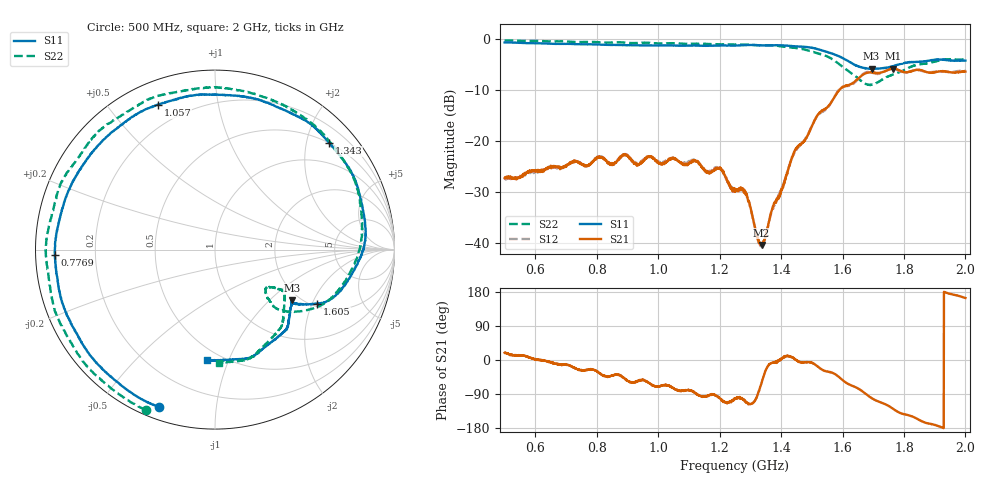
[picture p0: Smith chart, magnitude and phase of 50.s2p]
! Anritsu VNA Master:  Model: MS2036C/2
! SN:  2120025
! /bd0/50.s2p
! Existing Calibration Information:
! TYPE:  Current Settings,  Active Cal Settings
! TIME:  03/24/2026 03:09:40 AM,  03/18/2026 10:00:30 PM
! INTERNAL TEMP:  49.5 C,  42.3 C
! # POINTS:  2000,  2000
! START FREQ:  500.000 MHz,  500.000 MHz
! STOP FREQ:  2.000 GHz,  2.000 GHz
! SOURCE POWER:  High,  High
! IFBW:  10 kHz,  10 kHz
! AVG FACTOR:  1 ,  1
! REF PLANE 1:  0 mm,  0 mm
! REF PLANE 2:  0 mm,  0 mm
! CAL TYPE:  Full 2 Port,  Full 2 Port
! CAL METHOD:  SOLT,  SOLT
! CAL LINE TYPE:  Coax,  Coax
! DUT PORT 1:  N-Conn(M),  N-Conn(M)
! DUT PORT 2:  N-Conn(M),  N-Conn(M)
! CAL STATUS:  ?T: Accuracy moderate (|Temp diff| > 5.0 C),  --
# GHZ S MA R 50.0
! FREQ.GHZ  S11M  S11A  S21M  S21A  S12M  S12A  S22M  S22A
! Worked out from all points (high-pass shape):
!   2000 points, 500 MHz to 2 GHz, reference 50 ohm
!   highest |S21| = -5.76 dB at 1.766 GHz (marker M1); lowest = -40.4 dB at 1.337 GHz (marker M2)
!   |S21| within 3 dB of the highest: 1.627802 GHz to 1.627855 GHz (53.36 kHz wide, 0.00328 % of centre); 1.629 GHz to end of sweep
!   lowest |S11| = -5.8 dB at 1.695 GHz (marker M3), VSWR 3.12, Z = 90.5 - j69.7 ohm
!   |S11| at or under -10 dB: nowhere
!   |S22| runs from -9.0 to -0.2 dB; largest |S21 - S12| = 0.017
!   S11 on the Smith chart (normalised r, x): 500 MHz: 0.05, -0.70; 776.9 MHz: 0.06, -0.02; 1.057 GHz: 0.10, +0.67; 1.343 GHz: 0.50, +2.45; 1.605 GHz: 2.12, -2.17; 2 GHz: 0.42, -0.84
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0.5  0.9307 -109.8  0.0435 19.2  0.04297 20.0  0.9727 -113.4
0.6313157  0.9109 -141.0  0.05283 -1.0  0.05271 -0.4  0.9581 -144.5
0.7506253  0.8949 -171.4  0.05933 -27.3  0.05959 -27.7  0.941 -173.4
0.7768884  0.8924 -178.2  0.05821 -25.6  0.05813 -24.6  0.943 -179.5
0.8781891  0.8789 155.6  0.06904 -42.3  0.07054 -41.7  0.9329 155.5
1.0005  0.8705 125.4  0.06103 -69.3  0.06221 -68.3  0.9103 125.3
1.056778  0.8675 111.6  0.0661 -77.9  0.06576 -77.3  0.9124 110.9
1.198599  0.8669 77.3  0.05419 -99.6  0.05503 -100.1  0.8941 74.6
1.250375  0.8682 64.5  0.03191 -100.7  0.03243 -100.6  0.8886 61.1
1.285643  0.8757 55.9  0.02983 -112.8  0.03078 -108.1  0.8865 51.7
1.323912  0.876 48.3  0.01146 -90.8  0.01079 -90.7  0.8756 41.3
1.336668  0.8709 44.7  0.009556 -60.2  0.009526 -58.6  0.8712 37.9
1.342671  0.8716 43.0  0.01028 -44.1  0.01018 -42.1  0.8721 36.3
1.44097  0.8561 16.7  0.07723 5.8  0.07466 4.5  0.8266 7.2
1.50025  0.8289 -0.0  0.1409 -7.7  0.1426 -7.5  0.7593 -11.2
1.604552  0.6432 -27.9  0.3434 -55.8  0.3435 -56.6  0.5243 -40.9
1.657079  0.5351 -34.2  0.4266 -78.3  0.4291 -76.5  0.397 -42.6
1.694597  0.514 -33.5  0.4733 -100.1  0.473 -101.3  0.3579 -36.1
1.750125  0.5309 -37.2  0.5025 -121.3  0.5067 -120.8  0.4348 -31.3
1.765883  0.5463 -40.1  0.5154 -129.4  0.517 -130.0  0.4536 -31.9
1.861931  0.6055 -60.1  0.4909 -163.0  0.4847 -162.2  0.5733 -51.9
2  0.6177 -94.2  0.4821 163.6  0.4909 163.1  0.6307 -88.0
